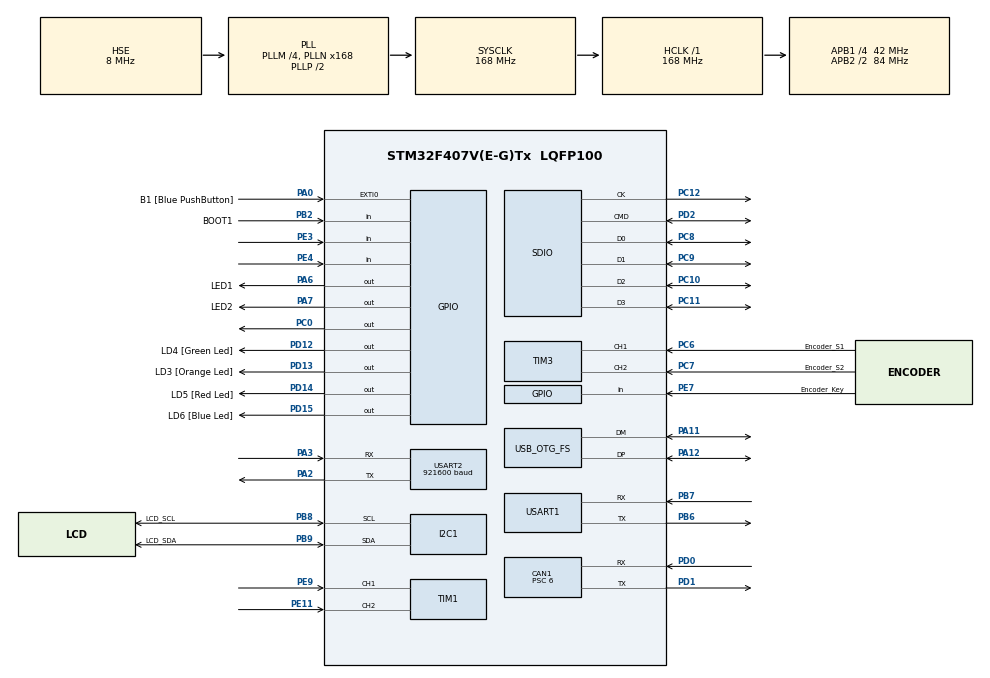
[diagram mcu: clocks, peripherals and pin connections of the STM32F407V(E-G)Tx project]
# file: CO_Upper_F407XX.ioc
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ADC1.Channel-0\#ChannelRegularConversion=ADC_CHANNEL_TEMPSENSOR
ADC1.ExternalTrigConv=ADC_EXTERNALTRIGCONV_T8_TRGO
ADC1.ExternalTrigConvEdge=ADC_EXTERNALTRIGCONVEDGE_FALLING
ADC1.NbrOfConversionFlag=1
ADC1.Rank-0\#ChannelRegularConversion=1
ADC1.SamplingTime-0\#ChannelRegularConversion=ADC_SAMPLETIME_3CYCLES
ADC1.master=1
CAN1.BS1=CAN_BS1_11TQ
CAN1.BS2=CAN_BS2_2TQ
CAN1.CalculateBaudRate=500000
CAN1.CalculateTimeBit=2000
CAN1.CalculateTimeQuantum=142.85714285714286
CAN1.Prescaler=6
Dma.ADC1.5.Direction=DMA_PERIPH_TO_MEMORY
Dma.ADC1.5.FIFOMode=DMA_FIFOMODE_DISABLE
Dma.ADC1.5.Instance=DMA2_Stream4
Dma.ADC1.5.MemDataAlignment=DMA_MDATAALIGN_HALFWORD
Dma.ADC1.5.MemInc=DMA_MINC_ENABLE
Dma.ADC1.5.Mode=DMA_NORMAL
Dma.ADC1.5.PeriphDataAlignment=DMA_PDATAALIGN_HALFWORD
Dma.ADC1.5.PeriphInc=DMA_PINC_DISABLE
Dma.ADC1.5.Priority=DMA_PRIORITY_LOW
Dma.MEMTOMEM.2.Direction=DMA_MEMORY_TO_MEMORY
Dma.MEMTOMEM.2.FIFOMode=DMA_FIFOMODE_ENABLE
Dma.MEMTOMEM.2.FIFOThreshold=DMA_FIFO_THRESHOLD_FULL
Dma.MEMTOMEM.2.Instance=DMA2_Stream0
Dma.MEMTOMEM.2.MemBurst=DMA_MBURST_SINGLE
Dma.MEMTOMEM.2.MemDataAlignment=DMA_MDATAALIGN_BYTE
Dma.MEMTOMEM.2.MemInc=DMA_MINC_ENABLE
Dma.MEMTOMEM.2.Mode=DMA_NORMAL
Dma.MEMTOMEM.2.PeriphBurst=DMA_PBURST_SINGLE
Dma.MEMTOMEM.2.PeriphDataAlignment=DMA_PDATAALIGN_BYTE
Dma.MEMTOMEM.2.PeriphInc=DMA_PINC_ENABLE
Dma.MEMTOMEM.2.Priority=DMA_PRIORITY_VERY_HIGH
Dma.MEMTOMEM.3.Direction=DMA_MEMORY_TO_MEMORY
Dma.MEMTOMEM.3.FIFOMode=DMA_FIFOMODE_ENABLE
Dma.MEMTOMEM.3.FIFOThreshold=DMA_FIFO_THRESHOLD_FULL
Dma.MEMTOMEM.3.Instance=DMA2_Stream5
Dma.MEMTOMEM.3.MemBurst=DMA_MBURST_SINGLE
Dma.MEMTOMEM.3.MemDataAlignment=DMA_MDATAALIGN_HALFWORD
Dma.MEMTOMEM.3.MemInc=DMA_MINC_ENABLE
Dma.MEMTOMEM.3.Mode=DMA_NORMAL
Dma.MEMTOMEM.3.PeriphBurst=DMA_PBURST_SINGLE
Dma.MEMTOMEM.3.PeriphDataAlignment=DMA_PDATAALIGN_HALFWORD
Dma.MEMTOMEM.3.PeriphInc=DMA_PINC_ENABLE
Dma.MEMTOMEM.3.Priority=DMA_PRIORITY_HIGH
Dma.MEMTOMEM.4.Direction=DMA_MEMORY_TO_MEMORY
Dma.MEMTOMEM.4.FIFOMode=DMA_FIFOMODE_ENABLE
Dma.MEMTOMEM.4.FIFOThreshold=DMA_FIFO_THRESHOLD_FULL
Dma.MEMTOMEM.4.Instance=DMA2_Stream3
Dma.MEMTOMEM.4.MemBurst=DMA_MBURST_SINGLE
Dma.MEMTOMEM.4.MemDataAlignment=DMA_MDATAALIGN_WORD
Dma.MEMTOMEM.4.MemInc=DMA_MINC_ENABLE
Dma.MEMTOMEM.4.Mode=DMA_NORMAL
Dma.MEMTOMEM.4.PeriphBurst=DMA_PBURST_SINGLE
Dma.MEMTOMEM.4.PeriphDataAlignment=DMA_PDATAALIGN_WORD
Dma.MEMTOMEM.4.PeriphInc=DMA_PINC_ENABLE
Dma.MEMTOMEM.4.Priority=DMA_PRIORITY_MEDIUM
Dma.Request0=USART2_TX
Dma.Request1=USART2_RX
Dma.Request2=MEMTOMEM
Dma.Request3=MEMTOMEM
Dma.Request4=MEMTOMEM
Dma.Request5=ADC1
Dma.Request6=TIM8_UP
Dma.Request7=TIM3_CH4/UP
Dma.TIM3_CH4/UP.7.Direction=DMA_PERIPH_TO_MEMORY
Dma.TIM3_CH4/UP.7.FIFOMode=DMA_FIFOMODE_DISABLE
Dma.TIM3_CH4/UP.7.Instance=DMA1_Stream2
Dma.TIM3_CH4/UP.7.MemDataAlignment=DMA_MDATAALIGN_HALFWORD
Dma.TIM3_CH4/UP.7.MemInc=DMA_MINC_ENABLE
Dma.TIM3_CH4/UP.7.Mode=DMA_NORMAL
Dma.TIM3_CH4/UP.7.PeriphDataAlignment=DMA_PDATAALIGN_HALFWORD
Dma.TIM3_CH4/UP.7.PeriphInc=DMA_PINC_DISABLE
Dma.TIM3_CH4/UP.7.Priority=DMA_PRIORITY_LOW
Dma.TIM8_UP.6.Direction=DMA_PERIPH_TO_MEMORY
Dma.TIM8_UP.6.FIFOMode=DMA_FIFOMODE_DISABLE
Dma.TIM8_UP.6.Instance=DMA2_Stream1
Dma.TIM8_UP.6.MemDataAlignment=DMA_MDATAALIGN_HALFWORD
Dma.TIM8_UP.6.MemInc=DMA_MINC_ENABLE
Dma.TIM8_UP.6.Mode=DMA_NORMAL
Dma.TIM8_UP.6.PeriphDataAlignment=DMA_PDATAALIGN_HALFWORD
Dma.TIM8_UP.6.PeriphInc=DMA_PINC_DISABLE
Dma.TIM8_UP.6.Priority=DMA_PRIORITY_LOW
Dma.USART2_RX.1.Direction=DMA_PERIPH_TO_MEMORY
Dma.USART2_RX.1.FIFOMode=DMA_FIFOMODE_DISABLE
Dma.USART2_RX.1.Instance=DMA1_Stream5
Dma.USART2_RX.1.MemDataAlignment=DMA_MDATAALIGN_BYTE
Dma.USART2_RX.1.MemInc=DMA_MINC_ENABLE
Dma.USART2_RX.1.Mode=DMA_NORMAL
Dma.USART2_RX.1.PeriphDataAlignment=DMA_PDATAALIGN_BYTE
Dma.USART2_RX.1.PeriphInc=DMA_PINC_DISABLE
Dma.USART2_RX.1.Priority=DMA_PRIORITY_LOW
Dma.USART2_TX.0.Direction=DMA_MEMORY_TO_PERIPH
Dma.USART2_TX.0.FIFOMode=DMA_FIFOMODE_DISABLE
Dma.USART2_TX.0.Instance=DMA1_Stream6
Dma.USART2_TX.0.MemDataAlignment=DMA_MDATAALIGN_BYTE
Dma.USART2_TX.0.MemInc=DMA_MINC_ENABLE
Dma.USART2_TX.0.Mode=DMA_NORMAL
Dma.USART2_TX.0.PeriphDataAlignment=DMA_PDATAALIGN_BYTE
Dma.USART2_TX.0.PeriphInc=DMA_PINC_DISABLE
Dma.USART2_TX.0.Priority=DMA_PRIORITY_LOW
I2C1.I2C_Mode=I2C_Fast
Mcu.Family=STM32F4
Mcu.Name=STM32F407V(E-G)Tx
Mcu.Package=LQFP100
Mcu.UserConstants=LCD_I2C,$$_I2C1_IP_HANDLE_$$;Tim_3_Encoder,$$_TIM3_IP_HANDLE_$$;Tim_1_Encoder,$$_TIM1_IP_HANDLE_$$
NVIC.ADC_IRQn=true\:0\:0\:false\:false\:true\:true\:true\:true
NVIC.DMA1_Stream2_IRQn=true\:0\:0\:false\:false\:true\:false\:true\:true
NVIC.DMA1_Stream5_IRQn=true\:0\:0\:false\:false\:true\:false\:true\:true
NVIC.DMA1_Stream6_IRQn=true\:0\:0\:false\:false\:true\:false\:true\:true
NVIC.DMA2_Stream0_IRQn=true\:0\:0\:false\:false\:true\:false\:true\:true
NVIC.DMA2_Stream1_IRQn=true\:0\:0\:false\:false\:true\:false\:true\:true
NVIC.DMA2_Stream4_IRQn=true\:0\:0\:false\:false\:true\:false\:true\:true
NVIC.I2C1_ER_IRQn=true\:0\:0\:false\:false\:true\:true\:true\:true
NVIC.I2C1_EV_IRQn=true\:0\:0\:false\:false\:true\:true\:true\:true
NVIC.OTG_FS_IRQn=true\:0\:0\:false\:false\:true\:false\:true\:true
NVIC.PriorityGroup=NVIC_PRIORITYGROUP_0
NVIC.RTC_Alarm_IRQn=true\:0\:0\:false\:false\:true\:true\:true\:true
NVIC.TIM3_IRQn=true\:0\:0\:false\:false\:true\:true\:true\:true
NVIC.TIM4_IRQn=true\:0\:0\:false\:false\:true\:true\:true\:true
NVIC.TIM6_DAC_IRQn=true\:0\:0\:false\:false\:true\:true\:true\:true
NVIC.TIM8_UP_TIM13_IRQn=true\:0\:0\:false\:false\:true\:true\:true\:true
NVIC.USART2_IRQn=true\:0\:0\:false\:false\:true\:true\:true\:true
PA0-WKUP.GPIO_Label=B1 [Blue PushButton]
PA0-WKUP.GPIO_ModeDefaultEXTI=GPIO_MODE_IT_FALLING
PA0-WKUP.GPIO_PuPd=GPIO_PULLUP
PA0-WKUP.Signal=GPXTI0
PA11.Mode=Device_Only
PA11.Signal=USB_OTG_FS_DM
PA12.Mode=Device_Only
PA12.Signal=USB_OTG_FS_DP
PA13.GPIO_Label=SWDIO
PA13.Mode=Serial_Wire
PA13.Signal=SYS_JTMS-SWDIO
PA14.GPIO_Label=SWCLK
PA14.Mode=Serial_Wire
PA14.Signal=SYS_JTCK-SWCLK
PA2.Mode=Asynchronous
PA2.Signal=USART2_TX
PA3.Mode=Asynchronous
PA3.Signal=USART2_RX
PA6.GPIO_Label=LED1
PA6.GPIO_PuPd=GPIO_PULLUP
PA6.PinState=GPIO_PIN_SET
PA6.Signal=GPIO_Output
PA7.GPIO_Label=LED2
PA7.GPIO_PuPd=GPIO_PULLUP
PA7.PinState=GPIO_PIN_SET
PA7.Signal=GPIO_Output
PB2.GPIO_Label=BOOT1
PB2.GPIO_Mode=GPIO_MODE_INPUT
PB2.GPIO_PuPd=GPIO_NOPULL
PB2.Signal=GPIO_Input
PB3.GPIO_Label=SWO
PB3.Signal=SYS_JTDO-SWO
PB6.Mode=Asynchronous
PB6.Signal=USART1_TX
PB7.Mode=Asynchronous
PB7.Signal=USART1_RX
PB8.GPIO_Label=LCD_SCL
PB8.Mode=I2C
PB8.Signal=I2C1_SCL
PB9.GPIO_Label=LCD_SDA
PB9.Mode=I2C
PB9.Signal=I2C1_SDA
PC0.PinState=GPIO_PIN_SET
PC0.Signal=GPIO_Output
PC10.Mode=SD_4_bits_Wide_bus
PC10.Signal=SDIO_D2
PC11.Mode=SD_4_bits_Wide_bus
PC11.Signal=SDIO_D3
PC12.Mode=SD_4_bits_Wide_bus
PC12.Signal=SDIO_CK
PC14-OSC32_IN.GPIO_Label=PC14-OSC32_IN
PC14-OSC32_IN.Mode=LSE-External-Oscillator
PC14-OSC32_IN.Signal=RCC_OSC32_IN
PC15-OSC32_OUT.GPIO_Label=PC15-OSC32_OUT
PC15-OSC32_OUT.Mode=LSE-External-Oscillator
PC15-OSC32_OUT.Signal=RCC_OSC32_OUT
PC6.GPIO_Label=Encoder_S1
PC6.GPIO_PuPd=GPIO_PULLUP
PC6.Signal=S_TIM3_CH1
PC7.GPIO_Label=Encoder_S2
PC7.GPIO_PuPd=GPIO_PULLUP
PC7.Signal=S_TIM3_CH2
PC8.Mode=SD_4_bits_Wide_bus
PC8.Signal=SDIO_D0
PC9.Mode=SD_4_bits_Wide_bus
PC9.Signal=SDIO_D1
PD0.Mode=CAN_Activate
PD0.Signal=CAN1_RX
PD1.Mode=CAN_Activate
PD1.Signal=CAN1_TX
PD12.GPIO_Label=LD4 [Green Led]
PD12.GPIO_PuPd=GPIO_NOPULL
PD12.GPIO_Speed=GPIO_SPEED_FREQ_LOW
PD12.Signal=GPIO_Output
PD13.GPIO_Label=LD3 [Orange Led]
PD13.GPIO_PuPd=GPIO_NOPULL
PD13.GPIO_Speed=GPIO_SPEED_FREQ_LOW
PD13.Signal=GPIO_Output
PD14.GPIO_Label=LD5 [Red Led]
PD14.GPIO_PuPd=GPIO_NOPULL
PD14.GPIO_Speed=GPIO_SPEED_FREQ_LOW
PD14.Signal=GPIO_Output
PD15.GPIO_Label=LD6 [Blue Led]
PD15.GPIO_PuPd=GPIO_NOPULL
PD15.GPIO_Speed=GPIO_SPEED_FREQ_LOW
PD15.Signal=GPIO_Output
PD2.Mode=SD_4_bits_Wide_bus
PD2.Signal=SDIO_CMD
PE11.GPIO_PuPd=GPIO_PULLUP
PE11.GPIO_Speed=GPIO_SPEED_FREQ_LOW
PE11.Signal=S_TIM1_CH2
PE3.GPIO_PuPd=GPIO_PULLUP
PE3.Signal=GPIO_Input
PE4.GPIO_PuPd=GPIO_PULLUP
PE4.Signal=GPIO_Input
PE7.GPIO_Label=Encoder_Key
PE7.GPIO_PuPd=GPIO_PULLUP
PE7.Signal=GPIO_Input
PE9.GPIO_PuPd=GPIO_PULLUP
PE9.GPIO_Speed=GPIO_SPEED_FREQ_LOW
PE9.Signal=S_TIM1_CH1
PH0-OSC_IN.GPIO_Label=PH0-OSC_IN
PH0-OSC_IN.Mode=HSE-External-Oscillator
PH0-OSC_IN.Signal=RCC_OSC_IN
PH1-OSC_OUT.GPIO_Label=PH1-OSC_OUT
PH1-OSC_OUT.Mode=HSE-External-Oscillator
PH1-OSC_OUT.Signal=RCC_OSC_OUT
ProjectManager.HeapSize=0x800
ProjectManager.StackSize=0x800
ProjectManager.TargetToolchain=STM32CubeIDE
RCC.48MHZClocksFreq_Value=48000000
RCC.AHBFreq_Value=168000000
RCC.APB1CLKDivider=RCC_HCLK_DIV4
RCC.APB1Freq_Value=42000000
RCC.APB1TimFreq_Value=84000000
RCC.APB2CLKDivider=RCC_HCLK_DIV2
RCC.APB2Freq_Value=84000000
RCC.APB2TimFreq_Value=168000000
RCC.CortexFreq_Value=168000000
RCC.HCLKFreq_Value=168000000
RCC.HSE_VALUE=8000000
RCC.HSI_VALUE=16000000
RCC.PLLI2SN=50
RCC.PLLM=4
RCC.PLLN=168
RCC.PLLQ=7
RCC.RCC_RTC_Clock_Source=RCC_RTCCLKSOURCE_LSE
RCC.RCC_RTC_Clock_SourceVirtual=RCC_RTCCLKSOURCE_HSE_DIV25
RCC.RCC_RTC_Clock_Source_FROM_HSE=RCC_RTCCLKSOURCE_HSE_DIV25
RCC.SYSCLKFreq_VALUE=168000000
RCC.SYSCLKSource=RCC_SYSCLKSOURCE_PLLCLK
RCC.VCOOutputFreq_Value=336000000
RTC.Alarm=RTC_ALARM_A
RTC.Alarm_B=RTC_ALARM_B
RTC.Date=21
RTC.Format=RTC_FORMAT_BIN
RTC.Hours=17
RTC.Minutes=30
RTC.Month=RTC_MONTH_JANUARY
RTC.WeekDay=RTC_WEEKDAY_THURSDAY
RTC.Year=25
SH.S_TIM1_CH1.0=TIM1_CH1,Encoder_Interface
SH.S_TIM1_CH2.0=TIM1_CH2,Encoder_Interface
SH.S_TIM3_CH1.0=TIM3_CH1,Encoder_Interface
SH.S_TIM3_CH2.0=TIM3_CH2,Encoder_Interface
TIM14.Period=999
TIM14.Prescaler=167
TIM4.Period=999
TIM4.Prescaler=167
TIM4.TIM_MasterOutputTrigger=TIM_TRGO_UPDATE
TIM5.Channel-Output\ Compare2\ CH2=TIM_CHANNEL_2
TIM6.Period=9999
TIM6.Prescaler=167
TIM6.TIM_MasterOutputTrigger=TIM_TRGO_UPDATE
TIM8.Period=39999
TIM8.Prescaler=41
TIM8.TIM_MasterOutputTrigger=TIM_TRGO_UPDATE
USART1.VirtualMode=VM_ASYNC
USART2.BaudRate=921600
USART2.StopBits=STOPBITS_2
USART2.VirtualMode=VM_ASYNC
USB_DEVICE.CLASS_NAME_FS=CDC
USB_DEVICE.VirtualMode-CDC_FS=Cdc
USB_DEVICE.VirtualModeFS=Cdc_FS
USB_OTG_FS.VirtualMode=Device_Only
VP_ADC1_TempSens_Input.Mode=IN-TempSens
VP_ADC1_Vbat_Input.Mode=IN-Vbat
VP_ADC1_Vref_Input.Mode=IN-Vrefint
VP_FATFS_VS_Generic.Mode=User_defined
VP_RTC_VS_RTC_Activate.Mode=RTC_Enabled
VP_RTC_VS_RTC_Alarm_A_Intern.Mode=Alarm A
VP_RTC_VS_RTC_Alarm_B_Intern.Mode=Alarm B
VP_RTC_VS_RTC_Calendar.Mode=RTC_Calendar
VP_TIM14_VS_ClockSourceINT.Mode=Enable_Timer
VP_TIM2_VS_ClockSourceINT.Mode=Internal
VP_TIM4_VS_ClockSourceINT.Mode=Internal
VP_TIM5_VS_ClockSourceINT.Mode=Internal
VP_TIM6_VS_ClockSourceINT.Mode=Enable_Timer
VP_TIM8_VS_ClockSourceINT.Mode=Internal
VP_USB_DEVICE_VS_USB_DEVICE_CDC_FS.Mode=CDC_FS
board=STM32F407G-DISC1

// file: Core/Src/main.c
/* USER CODE BEGIN Header */
/**
  ******************************************************************************
  * @file           : main.c
  * @brief          : Main program body
  ******************************************************************************
  * @attention
  *
  * Copyright (c) 2024 STMicroelectronics.
  * All rights reserved.
  *
  * This software is licensed under terms that can be found in the LICENSE file
  * in the root directory of this software component.
  * If no LICENSE file comes with this software, it is provided AS-IS.
  *
  *
  *
  *			UPPER__Located__PCBmodul__STM32F407
  *
  *				NodeID = 0x3d
  *
  ******************************************************************************
  */
/* USER CODE END Header */
#include "main.h"
#include "adc.h"
#include "can.h"
#include "dma.h"
#include "fatfs.h"
#include "i2c.h"
#include "rtc.h"
#include "sdio.h"
#include "tim.h"
#include "usart.h"
#include "usb_device.h"
#include "gpio.h"

/* USER CODE BEGIN Includes */
#include "CO_app_STM32.h"
#include "301/CO_SDOclient.h"
#include "CANopen.h"
#include "OD.h"

#include "format_out.h"
#include "SDO_utils.h"
#include "lcd.h"
#include "Encoder.h"
/* USER CODE END Includes */

/* USER CODE BEGIN PV */
uint8_t Tx_Array[16]={0x51,0x62,0x73,0x84,0x55,0x46,0x87,0x18,0x29,0x10,0x11,0x12,0x13,0x14,0x15,0x33};
uint8_t Rx_Array[16]={0};
uint32_t Array_32u[16]={0};
uint8_t Array_8u[16]={0x54,0x34,0x21,0xea,0xf3,0x7a,0xd4,0x46};
char Message_to_Terminal[128]={};
uint8_t Length_of_Message;
uint8_t Length_of_Ext_Var=0;
uint8_t Local_Count=0;

CO_SDO_abortCode_t  Code_return_SDO;
CAN_TxHeaderTypeDef Tx_Header;
uint32_t            TxMailbox;
uint32_t            tmp32u_1   = 0x1e1f1a1b;
uint32_t            tmp32u_0   = 0x0e0f0a0b;
uint64_t            tmp64u_0   = 0x0e1f1a1b56789a;
uint64_t            tmp64u_1   = 0x0e1f1a1b56789a;
uint32_t            Ticks;
char String_H[]={"String_for_Test_UART_"};
char String_L[]={"String_for_Test_UART_"};

/* USER CODE END PV */

void SystemClock_Config(void);
/* USER CODE BEGIN PFP */

void CAN_interface_Test(void);
void UART_interface_Test(void);
void Board_Name_to_Terminal(void);
void CO_Init_Return_State(uint16_t Returned_Code);
void SDO_abortCode_ASCII_to_Terminal(void);

/* USER CODE END PFP */

/* USER CODE BEGIN 0 */

/* Timer interrupt function executes every 1 ms */
void
HAL_TIM_PeriodElapsedCallback(TIM_HandleTypeDef* htim) {
    if (htim == canopenNodeSTM32->timerHandle) {
        canopen_app_interrupt();
    }
}

/* USER CODE END 0 */

int main(void)
{

  /* MCU Configuration--------------------------------------------------------*/

  /* Reset of all peripherals, Initializes the Flash interface and the Systick. */
  HAL_Init();

  /* Configure the system clock */
  SystemClock_Config();

  /* Initialize all configured peripherals */
  MX_GPIO_Init();
  MX_DMA_Init();
  MX_TIM14_Init();
  MX_USART1_UART_Init();
  MX_USB_DEVICE_Init();
  MX_USART2_UART_Init();
  MX_TIM4_Init();
  MX_CAN1_Init();
  MX_RTC_Init();
  MX_TIM6_Init();
  MX_ADC1_Init();
  MX_TIM8_Init();
  MX_I2C1_Init();
  MX_TIM3_Init();
  MX_TIM2_Init();
  MX_TIM5_Init();
  MX_TIM1_Init();
  MX_SDIO_SD_Init();
  MX_FATFS_Init();
  /* USER CODE BEGIN 2 */

  /* CANHandle : Pass in the CAN Handle to this function and it wil be used for all CAN Communications.
   * It can be FDCan or CAN and CANOpenSTM32 Driver will take of care of handling that
   *
   * HWInitFunction : Pass in the function that initialize the CAN peripheral, usually MX_CAN_Init
   *
   * timerHandle : Pass in the timer that is going to be used for generating 1ms interrupt for tmrThread function,
   * please note that CANOpenSTM32 Library will override HAL_TIM_PeriodElapsedCallback function,
   * if you also need this function in your codes, please take required steps
   *
   * desiredNodeID : This is the Node ID that you ask the CANOpen stack to assign to your device,
   * although it might not always be the final NodeID,
   * after calling canopen_app_init() you should check ActiveNodeID of CANopenNodeSTM32 structure for assigned Node ID.
   *
   * baudrate: This is the baudrate you've set in your CubeMX Configuration
   *
   */

	//  UART_interface_Test(); while(1){;}
	//  CAN_interface_Test();
	// GPIO_Blink_Test(GPIOA, GPIO_PIN_7|GPIO_PIN_6, 25, 33); //for_STM32F4XX_Ali_pcb
	// GPIO_Blink_Test(GPIOD, GPIO_PIN_12|GPIO_PIN_13|GPIO_PIN_14|GPIO_PIN_15, 25, 33);// blink_at_Discovery_EVB
	Board_Name_to_Terminal();
	OD_PERSIST_COMM.x1018_identity.serialNumber = HAL_GetUIDw0();
	HAL_TIM_Base_Start_IT(&htim4);

	CANopenNodeSTM32 canOpenNodeSTM32;
	canOpenNodeSTM32.CANHandle = &hcan1;
	canOpenNodeSTM32.HWInitFunction = MX_CAN1_Init;
	canOpenNodeSTM32.timerHandle = &htim4;
	canOpenNodeSTM32.desiredNodeID = CO_Upper_F407XX;  //0x3d;
	//canOpenNodeSTM32.desiredNodeID = Node_Unconfigured;
	canOpenNodeSTM32.baudrate = 125*4;
	uint16_t Ret_value = canopen_app_init(&canOpenNodeSTM32);
	CO_Init_Return_State(Ret_value);

  /* USER CODE END 2 */

  /* Infinite loop */
  /* USER CODE BEGIN WHILE */

	  OD_PERSIST_COMM.x6000_upper_F4XX_VAR32_6000_TX=0;
	  Local_Count=0;
//	  uint8_t Buffsize=2;
//	  uint16_t Length_of_Ext_Var =2;
//	  uint32_t Old_u8_Value=0;
	  Ticks = HAL_GetTick();
	  uint16_t LLL=0;

//	  CO_SDO_abortCode_t ReturnCode = 0x5040000;/**< 0x05040000, SDO protocol timed out */
//	  while(TerminalInterface.gState != HAL_UART_STATE_READY)
//	  {
////		HAL_Delay(250);
////		SDO_abortCode_to_String(CO_SDO_AB_TOGGLE_BIT, Message_to_Terminal);
////		  while(TerminalInterface.gState != HAL_UART_STATE_READY){}
//	  }
	  //SDO_abortCode_to_String(ReturnCode, Message_to_Terminal);

//	  HAL_GPIO_WritePin(GPIOA, GPIO_PIN_7, !canOpenNodeSTM32.outStatusLEDGreen);
//	  HAL_GPIO_WritePin(GPIOA, GPIO_PIN_6, !canOpenNodeSTM32.outStatusLEDRed  );
	  canopen_app_process();

//	  while(ReturnCode==0x5040000)
//	  {
//	  ReturnCode=
//	  read_SDO	(
//			  	  canOpenNodeSTM32.canOpenStack->SDOclient, 	//	CO_SDOclient_t* SDO_C,
//				  CO_Lower__f407xx,		//	uint8_t nodeId, 	// Remote_NodeID
//				  0x6003,				//	uint16_t index,		// OD_Index_of_entire_at_Remote_NodeID
//				  0,					//	uint8_t subIndex, 	// OD_SubIndex_of_entire_at_Remote_NodeID
//				  Array_8u,				//	uint8_t* buf, 		// Saved_Data_Array
//				  Buffsize,				//	size_t bufSize, 	// Number_of_Bytes_Read_from_Remote_NodeID
//		(size_t*)&Length_of_Ext_Var		//	size_t* readSize 	// pointer_at_Number_of_Bytes_to_save
//				  );
//	  }
//		while(TerminalInterface.gState != HAL_UART_STATE_READY){;}
//		LLL = sprintf 	( Message_to_Terminal,
//						  "ReturnCode=0x%02X  \n\r",
//						  ReturnCode);

		HAL_UART_Transmit_IT(&TerminalInterface, (uint8_t*)Message_to_Terminal, LLL);
//		HAL_GPIO_WritePin(GPIOA, GPIO_PIN_7, !canOpenNodeSTM32.outStatusLEDGreen);
//		HAL_GPIO_WritePin(GPIOA, GPIO_PIN_6, !canOpenNodeSTM32.outStatusLEDRed  );
		canopen_app_process();

//	  ReturnCode=
//	  read_SDO	(
//			  	  canOpenNodeSTM32.canOpenStack->SDOclient, 	//	CO_SDOclient_t* SDO_C,
//				  CO_Lower__f407xx,		//	uint8_t nodeId, 	// Remote_NodeID
//				  0x6003,				//	uint16_t index,		// OD_Index_of_entire_at_Remote_NodeID
//				  0,					//	uint8_t subIndex, 	// OD_SubIndex_of_entire_at_Remote_NodeID
//				  Array_8u,				//	uint8_t* buf, 		// Saved_Data_Array
//				  Buffsize,				//	size_t bufSize, 	// Number_of_Bytes_Read_from_Remote_NodeID
//		(size_t*)&Length_of_Ext_Var		//	size_t* readSize 	// pointer_at_Number_of_Bytes_to_save
//				  );
//		while(TerminalInterface.gState != HAL_UART_STATE_READY){;}
//
//	SDO_abortCode_to_String(ReturnCode, Message_to_Terminal);

		HAL_GPIO_WritePin(GPIOA, GPIO_PIN_7, GPIO_PIN_SET);
		HAL_GPIO_WritePin(GPIOA, GPIO_PIN_6, GPIO_PIN_SET );
   while (1)
  {

//       //********************************************************
//       		if((HAL_GetTick() & 0x0000080) ==0)
//       		{
//       		HAL_GPIO_WritePin(GPIOA, GPIO_PIN_7,GPIO_PIN_RESET);
//       		}else{HAL_GPIO_WritePin(GPIOA, GPIO_PIN_7,GPIO_PIN_SET);}
//       ///**********************************************************

//		  HAL_GPIO_WritePin(GPIOA, GPIO_PIN_7, !canOpenNodeSTM32.outStatusLEDGreen);
//		  HAL_GPIO_WritePin(GPIOA, GPIO_PIN_6, !canOpenNodeSTM32.outStatusLEDRed  );
		  canopen_app_process();

//		  ReturnCode=
//		  read_SDO	(
//				  	  canOpenNodeSTM32.canOpenStack->SDOclient, 	//	CO_SDOclient_t* SDO_C,
//					  CO_Lower__f407xx,		//	uint8_t nodeId, 	// Remote_NodeID
//					  0x6003,				//	uint16_t index,		// OD_Index_of_entire_at_Remote_NodeID
//					  0,					//	uint8_t subIndex, 	// OD_SubIndex_of_entire_at_Remote_NodeID
//					  Array_8u,				//	uint8_t* buf, 		// Saved_Data_Array
//					  Buffsize,				//	size_t bufSize, 	// Number_of_Bytes_Read_from_Remote_NodeID
//			(size_t*)&Length_of_Ext_Var		//	size_t* readSize 	// pointer_at_Number_of_Bytes_to_save
//					  );
//
//		SDO_abortCode_to_String(ReturnCode, Message_to_Terminal);
//		  if(Array_8u[0] != Old_u8_Value)
//			  {
//				Old_u8_Value = Array_8u[0];
//				if((HAL_GetTick()-Ticks)>999)
//				{
//					Ticks = HAL_GetTick();
//					while(TerminalInterface.gState != HAL_UART_STATE_READY){;}
//					LLL = sprintf (	Message_to_Terminal,
//									"0x%02X, 0x%02X \n\r",
//									Array_8u[0],
//									Array_8u[1]
//								);
//					HAL_UART_Transmit_IT(&TerminalInterface, (uint8_t*)Message_to_Terminal, LLL);
//				}
//			  }

    /* USER CODE END WHILE */

    /* USER CODE BEGIN 3 */

  }///while (1)
  /* USER CODE END 3 */
}

void SystemClock_Config(void)
{
  RCC_OscInitTypeDef RCC_OscInitStruct = {0};
  RCC_ClkInitTypeDef RCC_ClkInitStruct = {0};

  /** Configure the main internal regulator output voltage
  */
  __HAL_RCC_PWR_CLK_ENABLE();
  __HAL_PWR_VOLTAGESCALING_CONFIG(PWR_REGULATOR_VOLTAGE_SCALE1);

  /** Initializes the RCC Oscillators according to the specified parameters
  * in the RCC_OscInitTypeDef structure.
  */
  RCC_OscInitStruct.OscillatorType = RCC_OSCILLATORTYPE_HSE|RCC_OSCILLATORTYPE_LSE;
  RCC_OscInitStruct.HSEState = RCC_HSE_ON;
  RCC_OscInitStruct.LSEState = RCC_LSE_ON;
  RCC_OscInitStruct.PLL.PLLState = RCC_PLL_ON;
  RCC_OscInitStruct.PLL.PLLSource = RCC_PLLSOURCE_HSE;
  RCC_OscInitStruct.PLL.PLLM = 4;
  RCC_OscInitStruct.PLL.PLLN = 168;
  RCC_OscInitStruct.PLL.PLLP = RCC_PLLP_DIV2;
  RCC_OscInitStruct.PLL.PLLQ = 7;
  if (HAL_RCC_OscConfig(&RCC_OscInitStruct) != HAL_OK)
  {
    Error_Handler();
  }

  /** Initializes the CPU, AHB and APB buses clocks
  */
  RCC_ClkInitStruct.ClockType = RCC_CLOCKTYPE_HCLK|RCC_CLOCKTYPE_SYSCLK
                              |RCC_CLOCKTYPE_PCLK1|RCC_CLOCKTYPE_PCLK2;
  RCC_ClkInitStruct.SYSCLKSource = RCC_SYSCLKSOURCE_PLLCLK;
  RCC_ClkInitStruct.AHBCLKDivider = RCC_SYSCLK_DIV1;
  RCC_ClkInitStruct.APB1CLKDivider = RCC_HCLK_DIV4;
  RCC_ClkInitStruct.APB2CLKDivider = RCC_HCLK_DIV2;

  if (HAL_RCC_ClockConfig(&RCC_ClkInitStruct, FLASH_LATENCY_5) != HAL_OK)
  {
    Error_Handler();
  }
}

/* USER CODE BEGIN 4 */

////////////////////////////////////////////////////////

//////////////////////////////////////////////////////////
void CAN_interface_Test(void)
{

 Tx_Header.IDE    = CAN_ID_STD;
 Tx_Header.ExtId  = 0;
 Tx_Header.DLC    = 8;
 Tx_Header.StdId  = 0x7EC;
 Tx_Header.RTR    = CAN_RTR_DATA;
 HAL_CAN_Start(&hcan1);  HAL_Delay(1500);

 if(HAL_CAN_AddTxMessage( &hcan1,
   		               &Tx_Header,
							Tx_Array, &TxMailbox )==HAL_OK
 	 )
	  {  /* Wait transmission complete */
	  //while(HAL_CAN_GetTxMailboxesFreeLevel(&hcan1) != 3) {}
		  for(uint8_t cnt=0;cnt<22;cnt++)
		  {
		   HAL_GPIO_TogglePin(LED2_GPIO_Port, LED2_Pin);//LED2_Pin//yellow
		   HAL_Delay(46);
		  }
	  }
}

///////////////////////////////////////////////////
void UART_interface_Test(void)
{
	// Test_Terminal__ASCII
	  Length_of_Message = sprintf( Message_to_Terminal,
			  	  	  	  	  	  	  "Rx_Array[0]=0x%x, Rx_Array[1]= 0x%x, Rx_Array[2]= 0x%x, Rx_Array[3]= 0x%x \n\r",
									   Rx_Array[0],Rx_Array[1],Rx_Array[2],Rx_Array[3]
								 );
	  TerminalInterface.gState = HAL_UART_STATE_READY;
	  HAL_UART_Transmit_DMA( &TerminalInterface, (uint8_t*)Message_to_Terminal, Length_of_Message);

//    Test_Terminal__HEX
//
//	  HAL_Delay(500);
//	  Local_Count = sizeof String_L;
//	  String_L[Local_Count-1] = 0x0d;
//	  TerminalInterface.gState = HAL_DMA_STATE_READY;
//	  HAL_UART_Transmit_DMA( &TerminalInterface, (uint8_t*)(String_L), Local_Count);

}
//////////////////////////////////////////////

////////////////////////////////////////////////

void Board_Name_to_Terminal(void)
{
	const char Message_0[]={"   ******************************************\n\r"};
	const char Message_1[]={"*  Upper Blackboard  STM32F4XX___Ali     *\n\r"};
//	const char Message_1[]={"*  Lower Blackboard  STM32F4XX___Ali     *\n\r"};
//	const char Message_1[]={"*  STM32F4DISCOVERY Green_board China    *\n\r"};
//	const char Message_1[]={"*  STM32F4DISCOVERY Blue_board Original  *\n\r"};
	char Array_for_Messages[128]={};
	uint16_t Msg_Length;
//	uint32_t Chip_ID_96bit[4]={};
//	uint16_t  *pChip_ID_96bit =(uint16_t*)Chip_ID_96bit ;

//	Chip_ID_96bit[0] = HAL_GetUIDw0();
//	Chip_ID_96bit[1] = HAL_GetUIDw1();
//	Chip_ID_96bit[2] = HAL_GetUIDw2();

	Msg_Length = sizeof(Message_0);
	while(TerminalInterface.gState != HAL_UART_STATE_READY){;}
	HAL_UART_Transmit_DMA( &TerminalInterface, (uint8_t*)Message_0, Msg_Length);
////	HAL_UART_Transmit( &TerminalInterface, (uint8_t*)Message_0, Msg_Length,1);

	Msg_Length = sizeof(Message_1);
	while(TerminalInterface.gState != HAL_UART_STATE_READY){;}
	HAL_UART_Transmit_DMA( &TerminalInterface, (uint8_t*)Message_1, Msg_Length);
////	HAL_UART_Transmit( &TerminalInterface, (uint8_t*)Message_3, Msg_Length,1);

	while(TerminalInterface.gState != HAL_UART_STATE_READY){;}
	Msg_Length = sprintf( Array_for_Messages,
			  	  	  	  "*  SystemClock = %d MHz                 *\n\r",
						  (uint16_t)(HAL_RCC_GetSysClockFreq()/1000000)
						);
	HAL_UART_Transmit_DMA( &TerminalInterface, (uint8_t*)Array_for_Messages, Msg_Length);
////	HAL_UART_Transmit( &TerminalInterface, (uint8_t*)Array_for_Messages, Msg_Length,1);

	while(TerminalInterface.gState != HAL_UART_STATE_READY){;}
	Msg_Length = sprintf( Array_for_Messages,
			  	  	  	  "   *  Unical_ID %X%X%X%X%X%X        *\n\r",
						  (uint16_t)(HAL_GetUIDw2()>>16),(uint16_t)(HAL_GetUIDw2() & 0x0000FFFF),
						  (uint16_t)(HAL_GetUIDw1()>>16),(uint16_t)(HAL_GetUIDw1() & 0x0000FFFF),
						  (uint16_t)(HAL_GetUIDw0()>>16),(uint16_t)(HAL_GetUIDw0() & 0x0000FFFF)

						);
	HAL_UART_Transmit_DMA( &TerminalInterface, (uint8_t*)Array_for_Messages, Msg_Length);

	while(TerminalInterface.gState != HAL_UART_STATE_READY){;}
	Msg_Length = sprintf( Array_for_Messages,
			  	  	  	  "   *  Device identifier %X%X                *\n\r",
						  (uint16_t)(HAL_GetDEVID()>>16), (uint16_t)(HAL_GetDEVID() & 0x0000FFFF)
						);
	HAL_UART_Transmit_DMA( &TerminalInterface, (uint8_t*)Array_for_Messages, Msg_Length);

	while(TerminalInterface.gState != HAL_UART_STATE_READY){;}
	Msg_Length = sprintf( Array_for_Messages,
			  	  	  	  "   *  Device revision identifier %X%X      *\n\r",
						  (uint16_t)( HAL_GetREVID()>>16 ),
						  (uint16_t)( HAL_GetREVID() & 0x0000FFFF )
						);
	HAL_UART_Transmit_DMA( &TerminalInterface, (uint8_t*)Array_for_Messages, Msg_Length);

	Msg_Length = sizeof(Message_0);
	while(TerminalInterface.gState != HAL_UART_STATE_READY){;}
	HAL_UART_Transmit_DMA( &TerminalInterface, (uint8_t*)Message_0, Msg_Length);

	while(TerminalInterface.gState != HAL_UART_STATE_READY){;}
	Array_for_Messages[0]=0x0a;		Array_for_Messages[1]=0x0d;
	Array_for_Messages[2]=0x0a;		Array_for_Messages[3]=0x0d;
	Array_for_Messages[4]=0x0a;		Array_for_Messages[5]=0x0d;
	HAL_UART_Transmit_DMA( &TerminalInterface, (uint8_t*)(Array_for_Messages), 6);
	while(TerminalInterface.gState != HAL_UART_STATE_READY){;}
}

//////////////////////////////////////////////////
void CO_Init_Return_State(uint16_t Returned_Code)
{
	   if (Returned_Code==0){
	   const uint8_t Msg_0[]="canopen_app_init OK\n\r";
	   	  Length_of_Message = sizeof(Msg_0);
	   	  while(TerminalInterface.gState != HAL_UART_STATE_READY){;}
	   	  HAL_UART_Transmit_DMA( &TerminalInterface, Msg_0, Length_of_Message);
	   	 }else if(Returned_Code==1) {
	   		const uint8_t Msg_1[]="Error: Can't allocate memory\n\r";
	   		 Length_of_Message = sizeof(Msg_1);
	   		 while(TerminalInterface.gState != HAL_UART_STATE_READY){;}
	   		  HAL_UART_Transmit_DMA( &TerminalInterface, Msg_1, Length_of_Message);
	   		 }else if(Returned_Code==2) {
	   			const uint8_t Msg_2[]="Error: Storage %d\n\r";
	   			 Length_of_Message = sizeof(Msg_2);
	   			 while(TerminalInterface.gState != HAL_UART_STATE_READY){;}
	   			  HAL_UART_Transmit_DMA( &TerminalInterface, Msg_2, Length_of_Message);
	   			 }else{;}

		while(TerminalInterface.gState != HAL_UART_STATE_READY){;}
		Length_of_Message = sprintf( Message_to_Terminal,
		  	  	  "   *  CANopenNodeSTM32 canOpenNodeSTM32;        *\n\r"
		  	  	  "   *  .CANHandle = &hcan1;                      *\n\r"
							);
		HAL_UART_Transmit_DMA( &TerminalInterface, (uint8_t*)Message_to_Terminal, Length_of_Message);

		while(TerminalInterface.gState != HAL_UART_STATE_READY){;}
		Length_of_Message = sprintf( Message_to_Terminal,
		  	  	  "   *  .HWInitFunction = MX_CAN1_Init            *\n\r"
		  	  	  "   *  .timerHandle = &htim4                     *\n\r"
							);
		HAL_UART_Transmit_DMA( &TerminalInterface, (uint8_t*)Message_to_Terminal, Length_of_Message);

		while(TerminalInterface.gState != HAL_UART_STATE_READY){;}
		Length_of_Message = sprintf( Message_to_Terminal,
		  	  	  "   *  .baudrate = 500kbps                       *\n\r"
		  	  	  "   *  .desiredNodeID = CO_Upper_F407XX;//0x3d; *\n\r"
							);
		HAL_UART_Transmit_DMA( &TerminalInterface, (uint8_t*)Message_to_Terminal, Length_of_Message);

		while(TerminalInterface.gState != HAL_UART_STATE_READY){;}
		Length_of_Message = sprintf( Message_to_Terminal,
		  	  	  "   *  canopen_app_init(&canOpenNodeSTM32);      *\n\r\n\r\n\r"
							);
		HAL_UART_Transmit_DMA( &TerminalInterface, (uint8_t*)Message_to_Terminal, Length_of_Message);
}

///////////////////////////////////////////////////
void SDO_abortCode_ASCII_to_Terminal(void)
{
while(TerminalInterface.gState != HAL_UART_STATE_READY){;}
Length_of_Message = SDO_abortCode_to_String(Code_return_SDO,  Message_to_Terminal);
HAL_UART_Transmit_DMA( &TerminalInterface, (uint8_t*)Message_to_Terminal, Length_of_Message);HAL_Delay(10);
}

//////////////////////////////////////////

/* USER CODE END 4 */

void Error_Handler(void)
{
  __disable_irq();
  while (1)
  {
  }
}
